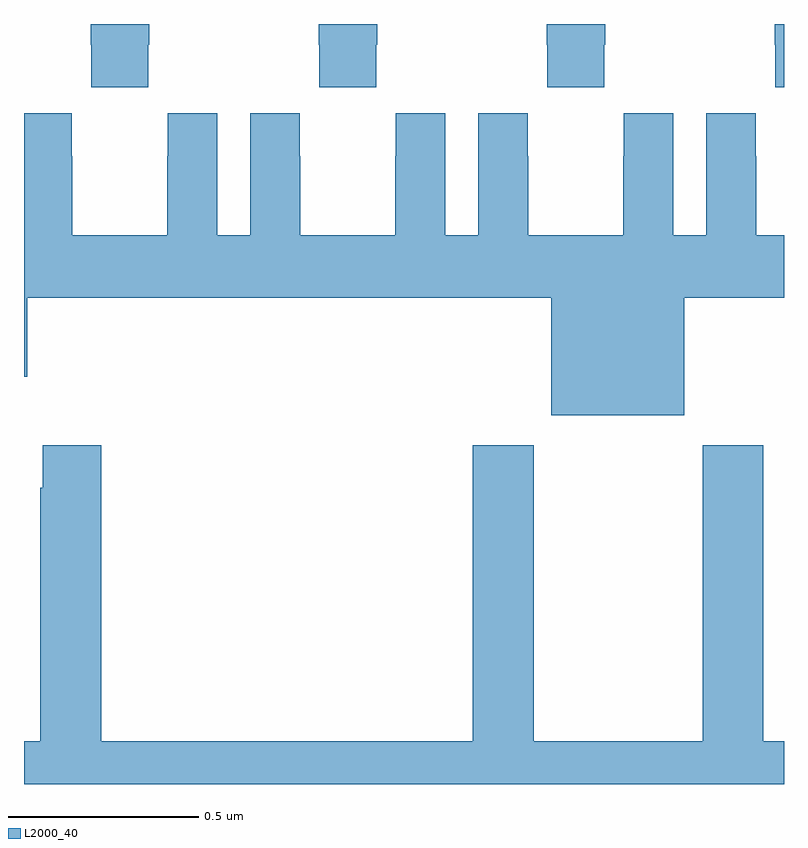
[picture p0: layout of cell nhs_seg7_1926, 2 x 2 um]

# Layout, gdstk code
import gdstk
lib = gdstk.Library(unit=1e-6, precision=1e-09)
def P(c, l, *ps):  # polygons
    for p in ps: c.add(gdstk.Polygon(p, *l))
L2000_40 = (2000, 40)

nhs_seg7_1926 = lib.new_cell('nhs_seg7_1926')
P(nhs_seg7_1926, L2000_40, [(138.175,1003.945),(138.177,1003.945),(138.177,1003.833),(138.327,1003.833),(138.327,1003.945),(138.33,1003.945),(138.33,1004),(138.175,1004)],
  [(138.927,1003.945),(138.93,1003.945),(138.93,1004),(138.775,1004),(138.775,1003.945),(138.777,1003.945),(138.777,1003.833),(138.927,1003.833)],
  [(139.527,1003.945),(139.53,1003.945),(139.53,1004),(139.375,1004),(139.375,1003.945),(139.377,1003.945),(139.377,1003.833),(139.527,1003.833)],
  [(140,1004),(139.975,1004),(139.975,1003.945),(139.977,1003.945),(139.977,1003.833),(140,1003.833)],
  [(140,1003.444),(139.927,1003.444),(139.927,1003.652),(139.926,1003.652),(139.926,1003.765),(139.796,1003.765),(139.796,1003.444),(139.708,1003.444),(139.708,1003.765),(139.578,1003.765),(139.578,1003.652),(139.577,1003.652),(139.577,1003.444),(139.327,1003.444),(139.327,1003.652),(139.326,1003.652),(139.326,1003.765),(139.196,1003.765),(139.196,1003.444),(139.108,1003.444),(139.108,1003.765),(138.978,1003.765),(138.978,1003.652),(138.977,1003.652),(138.977,1003.444),(138.727,1003.444),(138.727,1003.652),(138.726,1003.652),(138.726,1003.765),(138.596,1003.765),(138.596,1003.444),(138.508,1003.444),(138.508,1003.765),(138.378,1003.765),(138.378,1003.652),(138.377,1003.652),(138.377,1003.444),(138.127,1003.444),(138.127,1003.652),(138.126,1003.652),(138.126,1003.765),(138,1003.765),(138,1003.072),(138.008,1003.072),(138.008,1003.28),(139.388,1003.28),(139.388,1002.971),(139.738,1002.971),(139.738,1003.28),(140,1003.28)],
  [(140,1002.112),(139.946,1002.112),(139.946,1002.892),(139.786,1002.892),(139.786,1002.112),(139.341,1002.112),(139.341,1002.892),(139.181,1002.892),(139.181,1002.112),(138.203,1002.112),(138.203,1002.892),(138.049,1002.892),(138.049,1002.779),(138.043,1002.779),(138.043,1002.112),(138,1002.112),(138,1002),(140,1002)])

lib.write_gds('nhs_seg7_1926.gds')
